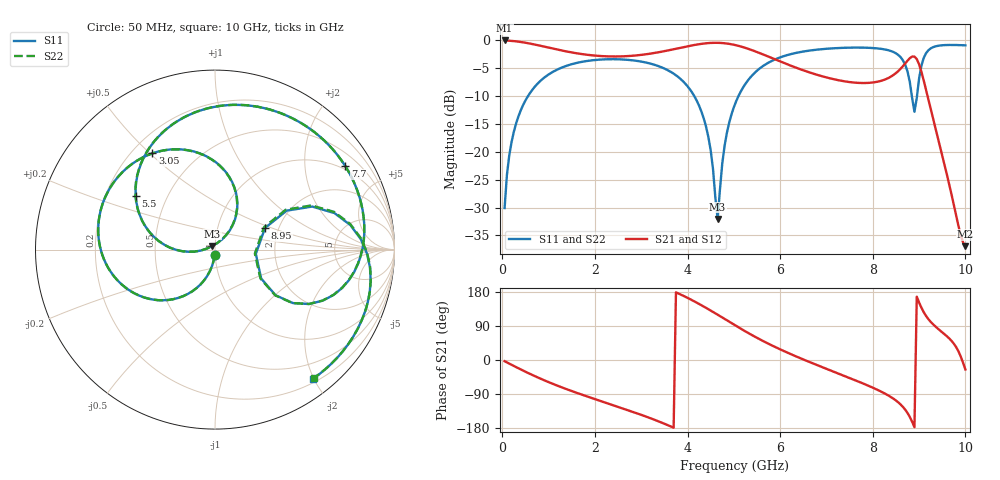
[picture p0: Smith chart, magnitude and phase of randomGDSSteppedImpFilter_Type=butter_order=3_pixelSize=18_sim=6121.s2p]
! freq	dB(S11)	phase(S11)	dB(S12)	phase(S12)
!  dB(S21)	phase(S21)	dB(S22)	phase(S22)
!S-par simulation data
#  GHz  S  DB  R 50
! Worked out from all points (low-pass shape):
!   200 points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, 50 MHz to 10 GHz, reference 50 ohm
!   highest |S21| = -0.01 dB at 50 MHz (marker M1); lowest = -36.9 dB at 10 GHz (marker M2)
!   |S21| within 3 dB of the highest: start of sweep to 5.775 GHz; 8.831 GHz to 8.912 GHz (80.86 MHz wide, 0.912 % of centre)
!   lowest |S11| = -32.0 dB at 4.65 GHz (marker M3), VSWR 1.05, Z = 48.5 + j1.94 ohm
!   |S11| at or under -10 dB: start of sweep to 555 MHz; 4.146 GHz to 5.099 GHz (953.7 MHz wide, 20.6 % of centre); 8.844 GHz to 8.955 GHz (111 MHz wide, 1.25 % of centre)
!   |S22| runs from -31.8 to -0.8 dB; largest |S21 - S12| = 0
!   S11 on the Smith chart (normalised r, x): 50 MHz: 0.99, -0.06; 3.05 GHz: 0.28, +0.51; 5.5 GHz: 0.33, +0.28; 7.7 GHz: 0.88, +3.19; 8.95 GHz: 1.70, +0.45; 10 GHz: 0.25, -1.99
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0.05  -30.10 -93.5  -0.01 -3.2  -0.01 -3.2  -30.09 -93.5
0.2  -18.24 -103.2  -0.09 -12.7  -0.09 -12.7  -18.24 -103.2
0.5  -10.78 -121.4  -0.42 -31.0  -0.42 -31.0  -10.78 -121.4
1.05  -5.85 -151.4  -1.39 -60.9  -1.39 -60.9  -5.85 -151.4
1.75  -3.80 176.7  -2.49 -92.8  -2.49 -92.8  -3.80 176.8
3.05  -3.88 123.0  -2.55 -146.9  -2.55 -146.9  -3.88 123.1
3.4  -4.70 107.0  -2.09 -163.2  -2.09 -163.2  -4.70 107.2
4.3  -12.78 58.8  -0.62 144.6  -0.62 144.6  -12.78 59.1
4.5  -19.74 52.1  -0.45 130.5  -0.45 130.5  -19.73 52.6
4.65  -32.05 126.7  -0.43 119.5  -0.43 119.5  -31.84 126.7
4.8  -18.93 -174.4  -0.51 108.4  -0.51 108.4  -18.91 -174.5
5.05  -10.92 174.5  -0.87 89.8  -0.87 89.8  -10.92 174.5
5.5  -5.44 145.8  -2.09 58.5  -2.09 58.5  -5.44 145.9
6.7  -1.75 80.5  -5.92 -8.6  -5.92 -8.6  -1.75 80.8
7.7  -1.29 32.7  -7.63 -57.3  -7.63 -57.3  -1.29 33.0
8.35  -1.80 -2.4  -6.69 -94.6  -6.69 -94.6  -1.80 -2.2
8.75  -5.57 -34.5  -3.64 -139.8  -3.64 -139.8  -5.60 -34.6
8.9  -12.82 -5.9  -2.90 -177.4  -2.90 -177.4  -13.03 -5.7
8.95  -10.35 23.4  -3.36 167.1  -3.36 167.1  -10.46 24.5
9.05  -4.54 23.9  -5.62 138.1  -5.62 138.1  -4.57 24.6
9.3  -1.22 -6.5  -14.00 94.4  -14.00 94.4  -1.22 -6.0
10  -0.88 -52.8  -36.94 -25.0  -36.94 -25.0  -0.89 -52.5
